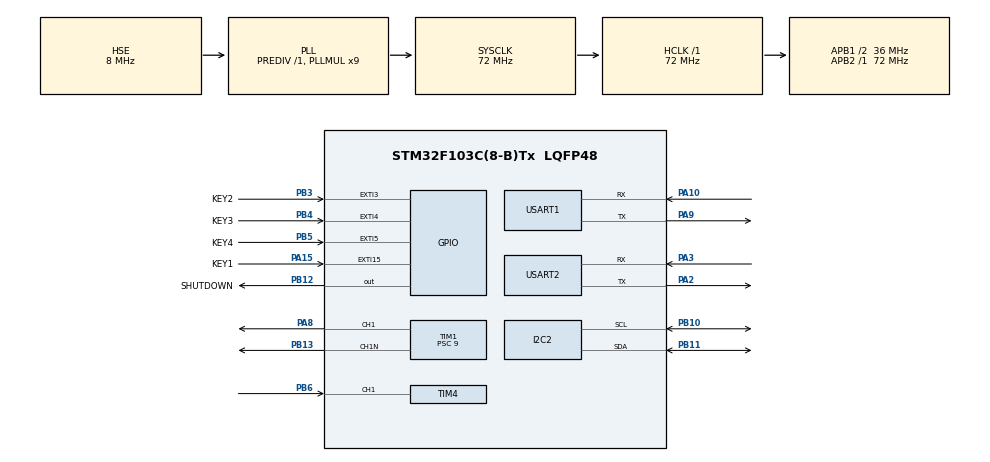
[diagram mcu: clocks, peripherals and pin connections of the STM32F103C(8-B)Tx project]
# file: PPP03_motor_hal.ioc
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Mcu.Family=STM32F1
Mcu.Name=STM32F103C(8-B)Tx
Mcu.Package=LQFP48
NVIC.EXTI15_10_IRQn=true\:1\:0\:true\:false\:true\:true\:true\:true
NVIC.EXTI3_IRQn=true\:1\:0\:true\:false\:true\:true\:true\:true
NVIC.EXTI4_IRQn=true\:1\:0\:true\:false\:true\:true\:true\:true
NVIC.EXTI9_5_IRQn=true\:1\:0\:true\:false\:true\:true\:true\:true
NVIC.PriorityGroup=NVIC_PRIORITYGROUP_4
NVIC.TIM2_IRQn=true\:0\:0\:false\:false\:true\:true\:true\:true
NVIC.TIM3_IRQn=true\:0\:0\:false\:false\:false\:true\:true\:true
NVIC.TIM4_IRQn=true\:0\:0\:false\:false\:true\:true\:true\:true
NVIC.USART2_IRQn=true\:0\:0\:false\:false\:false\:true\:true\:true
PA10.Mode=Asynchronous
PA10.Signal=USART1_RX
PA13.Mode=Serial_Wire
PA13.Signal=SYS_JTMS-SWDIO
PA14.Mode=Serial_Wire
PA14.Signal=SYS_JTCK-SWCLK
PA15.GPIO_Label=KEY1
PA15.GPIO_ModeDefaultEXTI=GPIO_MODE_IT_FALLING
PA15.GPIO_PuPd=GPIO_PULLUP
PA15.Signal=GPXTI15
PA2.Mode=Asynchronous
PA2.Signal=USART2_TX
PA3.Mode=Asynchronous
PA3.Signal=USART2_RX
PA8.Signal=S_TIM1_CH1
PA9.Mode=Asynchronous
PA9.Signal=USART1_TX
PB10.Mode=I2C
PB10.Signal=I2C2_SCL
PB11.Mode=I2C
PB11.Signal=I2C2_SDA
PB12.GPIO_Label=SHUTDOWN
PB12.GPIO_Speed=GPIO_SPEED_FREQ_HIGH
PB12.PinState=GPIO_PIN_SET
PB12.Signal=GPIO_Output
PB13.Mode=PWM Generation1 CH1 CH1N
PB13.Signal=TIM1_CH1N
PB3.GPIO_Label=KEY2
PB3.GPIO_ModeDefaultEXTI=GPIO_MODE_IT_FALLING
PB3.GPIO_PuPd=GPIO_PULLUP
PB3.Signal=GPXTI3
PB4.GPIO_Label=KEY3
PB4.GPIO_ModeDefaultEXTI=GPIO_MODE_IT_FALLING
PB4.GPIO_PuPd=GPIO_PULLUP
PB4.Signal=GPXTI4
PB5.GPIO_Label=KEY4
PB5.GPIO_ModeDefaultEXTI=GPIO_MODE_IT_FALLING
PB5.GPIO_PuPd=GPIO_PULLUP
PB5.Signal=GPXTI5
PB6.Signal=S_TIM4_CH1
PC14-OSC32_IN.Mode=LSE-External-Oscillator
PC14-OSC32_IN.Signal=RCC_OSC32_IN
PC15-OSC32_OUT.Mode=LSE-External-Oscillator
PC15-OSC32_OUT.Signal=RCC_OSC32_OUT
PD0-OSC_IN.Mode=HSE-External-Oscillator
PD0-OSC_IN.Signal=RCC_OSC_IN
PD1-OSC_OUT.Mode=HSE-External-Oscillator
PD1-OSC_OUT.Signal=RCC_OSC_OUT
ProjectManager.HeapSize=0x200
ProjectManager.StackSize=0x400
ProjectManager.TargetToolchain=MDK-ARM V5.32
RCC.AHBFreq_Value=72000000
RCC.APB1CLKDivider=RCC_HCLK_DIV2
RCC.APB1Freq_Value=36000000
RCC.APB1TimFreq_Value=72000000
RCC.APB2Freq_Value=72000000
RCC.APB2TimFreq_Value=72000000
RCC.HCLKFreq_Value=72000000
RCC.PLLMUL=RCC_PLL_MUL9
RCC.PLLSourceVirtual=RCC_PLLSOURCE_HSE
RCC.SYSCLKFreq_VALUE=72000000
RCC.SYSCLKSource=RCC_SYSCLKSOURCE_PLLCLK
RCC.USBFreq_Value=72000000
SH.S_TIM1_CH1.0=TIM1_CH1,PWM Generation1 CH1 CH1N
SH.S_TIM4_CH1.0=TIM4_CH1,Input_Capture1_from_TI1
TIM1.Channel-PWM\ Generation1\ CH1\ CH1N=TIM_CHANNEL_1
TIM1.Period=999
TIM1.Prescaler=9
TIM1.Pulse-PWM\ Generation1\ CH1\ CH1N=500
TIM2.Period=499
TIM2.Prescaler=7199
TIM3.Period=34
TIM3.Prescaler=3599
TIM4.Channel-Input_Capture1_from_TI1=TIM_CHANNEL_1
TIM4.Prescaler=719
USART1.VirtualMode=VM_ASYNC
USART2.VirtualMode=VM_ASYNC
VP_TIM1_VS_ClockSourceINT.Mode=Internal
VP_TIM2_VS_ClockSourceINT.Mode=Internal
VP_TIM3_VS_ClockSourceINT.Mode=Internal
VP_TIM4_VS_ClockSourceINT.Mode=Internal
board=custom

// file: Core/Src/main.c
/* USER CODE BEGIN Header */
/**
 ******************************************************************************
 * @file           : main.c
 * @brief          : Main program body
 ******************************************************************************
 * @attention
 *
 * Copyright (c) 2025 STMicroelectronics.
 * All rights reserved.
 *
 * This software is licensed under terms that can be found in the LICENSE file
 * in the root directory of this software component.
 * If no LICENSE file comes with this software, it is provided AS-IS.
 *
 ******************************************************************************
 */
/* USER CODE END Header */
#include "main.h"
#include "i2c.h"
#include "tim.h"
#include "usart.h"
#include "gpio.h"

/* USER CODE BEGIN Includes */
#include "App_display.h"
#include "App_key.h"
#include "App_run.h"
#include "mb.h"
#include "port.h"
/* USER CODE END Includes */

/* USER CODE BEGIN PV */
static uint8_t m13_modbus_ready = 0U;

/* USER CODE END PV */

void SystemClock_Config(void);

/* USER CODE BEGIN 0 */
/* Function 04 status, guarded Function 06 control at holding offset 0. */
static void App_M13_PublishStatus(void)
{
  uint32_t cutoff;
  uint32_t final_edges;
  App_M11_GetStopCounts(&cutoff, &final_edges);
  REG_INPUT_BUF[0] = 18U;
  REG_INPUT_BUF[1] = (uint16_t)App_M2_GetStatus();
  REG_INPUT_BUF[2] = (uint16_t)App_M4_GetTargetRPM();
  REG_INPUT_BUF[3] = (uint16_t)speed_now;
  REG_INPUT_BUF[4] = (uint16_t)final_edges;
  REG_INPUT_BUF[5] = (uint16_t)cutoff;
  REG_INPUT_BUF[6] = (uint16_t)(final_edges >= cutoff ?
                                final_edges - cutoff : 0U);
  REG_INPUT_BUF[7] = App_M6_GetAdcRaw();
  REG_INPUT_BUF[8] = App_M4_GetLastCompare();
  REG_INPUT_BUF[9] = (uint16_t)(HAL_GetTick() / 1000U);
}

/* USER CODE END 0 */

int main(void)
{

  /* MCU Configuration--------------------------------------------------------*/

  /* Reset of all peripherals, Initializes the Flash interface and the Systick. */
  HAL_Init();

  /* Configure the system clock */
  SystemClock_Config();

  /* Initialize all configured peripherals */
  MX_GPIO_Init();
  MX_USART1_UART_Init();
  MX_I2C2_Init();
  MX_TIM1_Init();
  MX_TIM4_Init();
  MX_TIM2_Init();
  MX_USART2_UART_Init();
  MX_TIM3_Init();
  /* USER CODE BEGIN 2 */

  DEBUG_INIT();
  App_display_init();
  App_Run_Init();
  App_M13_PublishStatus();
  if (eMBInit(MB_RTU, 1U, 0U, 115200U, MB_PAR_NONE) == MB_ENOERR)
  {
    m13_modbus_ready = (eMBEnable() == MB_ENOERR) ? 1U : 0U;
  }

  /* Remote control uses the existing bounded motor action functions. */
  /* USER CODE END 2 */

  /* Infinite loop */
  /* USER CODE BEGIN WHILE */

  while (1)
  {
    App_M13_PublishStatus();
    if (m13_modbus_ready)
    {
      (void)eMBPoll();
    }
    App_display_show();
    App_Key_Scan();
    App_M2_Update();

    // 调用接收数据的方法
    // 1. 底层接收数据使用串口 => 使用3.5字符时间间隔判断一条命令
    // 2. 校验判断 => 长度 CRC校验
    // 3. 获取命令中的功能码
    // 4. 根据功能码调用相应的处理函数
    /* No remote actuation in M2. */
    /* USER CODE END WHILE */

  }
}

void SystemClock_Config(void)
{
  RCC_OscInitTypeDef RCC_OscInitStruct = {0};
  RCC_ClkInitTypeDef RCC_ClkInitStruct = {0};

  /** Initializes the RCC Oscillators according to the specified parameters
   * in the RCC_OscInitTypeDef structure.
   */
  RCC_OscInitStruct.OscillatorType = RCC_OSCILLATORTYPE_HSE;
  RCC_OscInitStruct.HSEState = RCC_HSE_ON;
  RCC_OscInitStruct.HSEPredivValue = RCC_HSE_PREDIV_DIV1;
  RCC_OscInitStruct.HSIState = RCC_HSI_ON;
  RCC_OscInitStruct.PLL.PLLState = RCC_PLL_ON;
  RCC_OscInitStruct.PLL.PLLSource = RCC_PLLSOURCE_HSE;
  RCC_OscInitStruct.PLL.PLLMUL = RCC_PLL_MUL9;
  if (HAL_RCC_OscConfig(&RCC_OscInitStruct) != HAL_OK)
  {
    Error_Handler();
  }

  /** Initializes the CPU, AHB and APB buses clocks
   */
  RCC_ClkInitStruct.ClockType = RCC_CLOCKTYPE_HCLK | RCC_CLOCKTYPE_SYSCLK | RCC_CLOCKTYPE_PCLK1 | RCC_CLOCKTYPE_PCLK2;
  RCC_ClkInitStruct.SYSCLKSource = RCC_SYSCLKSOURCE_PLLCLK;
  RCC_ClkInitStruct.AHBCLKDivider = RCC_SYSCLK_DIV1;
  RCC_ClkInitStruct.APB1CLKDivider = RCC_HCLK_DIV2;
  RCC_ClkInitStruct.APB2CLKDivider = RCC_HCLK_DIV1;

  if (HAL_RCC_ClockConfig(&RCC_ClkInitStruct, FLASH_LATENCY_2) != HAL_OK)
  {
    Error_Handler();
  }
}

void Error_Handler(void)
{
  __disable_irq();
  while (1)
  {
  }
}
